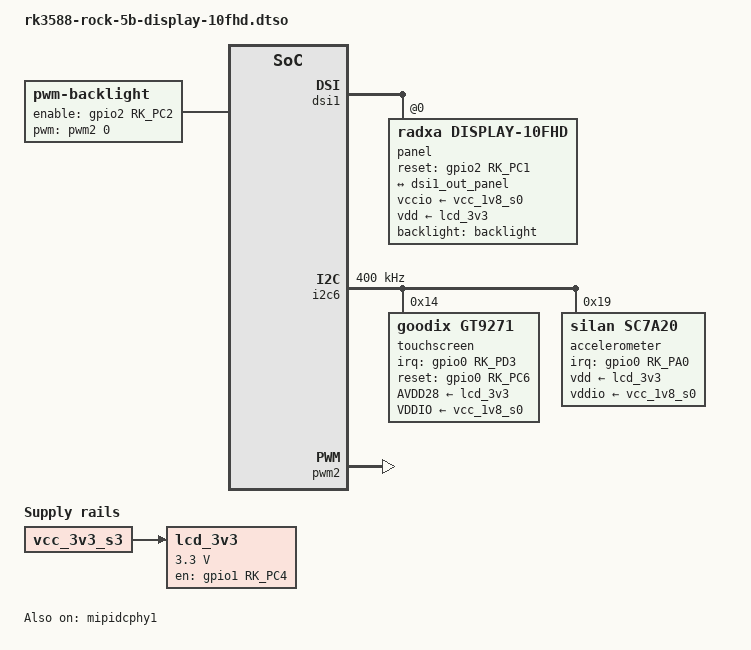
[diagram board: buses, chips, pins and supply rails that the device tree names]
// SPDX-License-Identifier: (GPL-2.0+ OR MIT)
/*
 * DT-overlay for Radxa 10FHD display. This display comes with Goodix
 * touchscreen and built-in Silan Microelectronics acceleration sensor.
 * Configured for use with Radxa ROCK 5B.
 */

/dts-v1/;
/plugin/;

#include <dt-bindings/gpio/gpio.h>
#include <dt-bindings/interrupt-controller/irq.h>
#include <dt-bindings/pinctrl/rockchip.h>
#include <dt-bindings/soc/rockchip,vop2.h>


&{/} {
	lcd_3v3: regulator-3v3-lcd {
		compatible = "regulator-fixed";
		regulator-name = "lcd_3v3";
		regulator-boot-on;
		regulator-min-microvolt = <3300000>;
		regulator-max-microvolt = <3300000>;
		enable-active-high;
		gpio = <&gpio1 RK_PC4 GPIO_ACTIVE_HIGH>;
		pinctrl-names = "default";
		pinctrl-0 = <&lcd_pwren_h>;
		vin-supply = <&vcc_3v3_s3>;
	};

	backlight: backlight {
		compatible = "pwm-backlight";
		pwms = <&pwm2 0 25000 0>;
		enable-gpios = <&gpio2 RK_PC2 GPIO_ACTIVE_HIGH>;
		pinctrl-names = "default";
		pinctrl-0 = <&lcd_light_en>;
	};
};

&dsi1 {
	#address-cells = <1>;
	#size-cells = <0>;
	status = "okay";

	panel@0 {
		compatible = "radxa,display-10fhd";
		reg = <0>;
		backlight = <&backlight>;
		pinctrl-names = "default";
		pinctrl-0 = <&lcd_reset>;
		reset-gpios = <&gpio2 RK_PC1 GPIO_ACTIVE_HIGH>;
		vccio-supply = <&vcc_1v8_s0>;
		vdd-supply = <&lcd_3v3>;

		port {
			panel_in_dsi1: endpoint {
				remote-endpoint = <&dsi1_out_panel>;
			};
		};
	};
};

&dsi1_in {
	dsi1_in_vp3: endpoint {
		remote-endpoint = <&vp3_out_dsi1>;
	};
};

&dsi1_out {
	dsi1_out_panel: endpoint {
		remote-endpoint = <&panel_in_dsi1>;
	};
};

&i2c6 {
	#address-cells = <1>;
	#size-cells = <0>;
	clock-frequency = <400000>;

	touchscreen@14 {
		compatible = "goodix,gt9271";
		reg = <0x14>;
		interrupt-parent = <&gpio0>;
		interrupts = <RK_PD3 IRQ_TYPE_LEVEL_HIGH>;
		irq-gpios = <&gpio0 RK_PD3 IRQ_TYPE_LEVEL_HIGH>;
		pinctrl-names = "default";
		pinctrl-0 = <&tp_int_l &tp_rst_l>;
		reset-gpios = <&gpio0 RK_PC6 GPIO_ACTIVE_HIGH>;
		AVDD28-supply = <&lcd_3v3>;
		VDDIO-supply = <&vcc_1v8_s0>;
	};

	accelerometer@19 {
		compatible = "silan,sc7a20";
		reg = <0x19>;
		interrupt-parent = <&gpio0>;
		interrupts = <RK_PA0 IRQ_TYPE_LEVEL_LOW>;
		pinctrl-names = "default";
		pinctrl-0 = <&accel_int>;
		st,drdy-int-pin = <1>;
		vdd-supply = <&lcd_3v3>;
		vddio-supply = <&vcc_1v8_s0>;

		mount-matrix = "1", "0", "0",
			       "0", "-1", "0",
			       "0", "0", "1";
	};
};

&mipidcphy1 {
	status = "okay";
};

&pinctrl {
	accelerometer {
		accel_int: accel-int {
			rockchip,pins = <0 RK_PA0 RK_FUNC_GPIO &pcfg_pull_up>;
		};
	};

	backlight {
		lcd_light_en: lcd-light-en {
			rockchip,pins = <2 RK_PC2 RK_FUNC_GPIO &pcfg_pull_up>;
		};
	};

	panel {
		lcd_pwren_h: lcd-pwren-h {
			rockchip,pins = <1 RK_PC4 RK_FUNC_GPIO &pcfg_pull_none>;
		};

		lcd_reset: lcd-reset {
			rockchip,pins = <2 RK_PC1 RK_FUNC_GPIO &pcfg_pull_up>;
		};
	};

	touchscreen {
		tp_int_l: tp-int-l {
			rockchip,pins = <0 RK_PD3 RK_FUNC_GPIO &pcfg_pull_none>;
		};
		tp_rst_l: tp-rst-l {
			rockchip,pins = <0 RK_PC6 RK_FUNC_GPIO &pcfg_pull_up>;
		};
	};
};

&pwm2 {
	pinctrl-names = "default";
	pinctrl-0 = <&pwm2m2_pins>;
	status = "okay";
};

&vp3 {
	#address-cells = <1>;
	#size-cells = <0>;

	vp3_out_dsi1: endpoint@ROCKCHIP_VOP2_EP_MIPI1 {
		reg = <ROCKCHIP_VOP2_EP_MIPI1>;
		remote-endpoint = <&dsi1_in_vp3>;
	};
};
